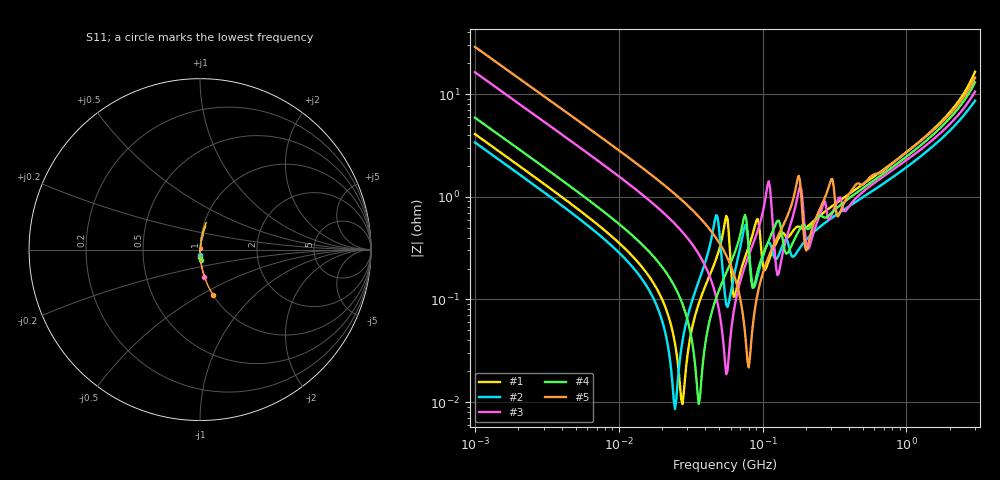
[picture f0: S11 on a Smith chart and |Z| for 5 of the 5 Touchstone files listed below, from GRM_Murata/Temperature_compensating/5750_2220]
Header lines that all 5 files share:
!These Parameters are Measured in Series Mode Connection
!Data Generated on Mar 30, 2021
!  o--ll--o
!Port1  Port2
!  o------o
!Operation Temp=25[degC], DC Bias Voltage=0[V]
!Freq. Start=1000[kHz] Stop=3[GHz] 401[Steps]
# Hz S RI R 50
!Freq.(Hz) S11(Real) S11(Imag) S21(Real) S21(Imag) S12(Real) S12(Imag) S22(Real) S22(Imag)
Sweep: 1 MHz to 3 GHz
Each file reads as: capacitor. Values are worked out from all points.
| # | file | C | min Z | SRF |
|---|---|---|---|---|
| 1 | GRM55D7U2J393JW31.s2p | 39 nF | 9.57 mohm | 27.65 MHz |
| 2 | GRM55D7U2J473JW31.s2p | 47 nF | 8.56 mohm | 24.64 MHz |
| 3 | GRM55D7U3A103JW31.s2p | 9.75 nF | 18.7 mohm | 56.34 MHz |
| 4 | GRM55Q7U2J273JW31.s2p | 27 nF | 9.61 mohm | 36.13 MHz |
| 5 | GRM55Q7U3A562JW31.s2p | 5.52 nF | 21.8 mohm | 79.95 MHz |
